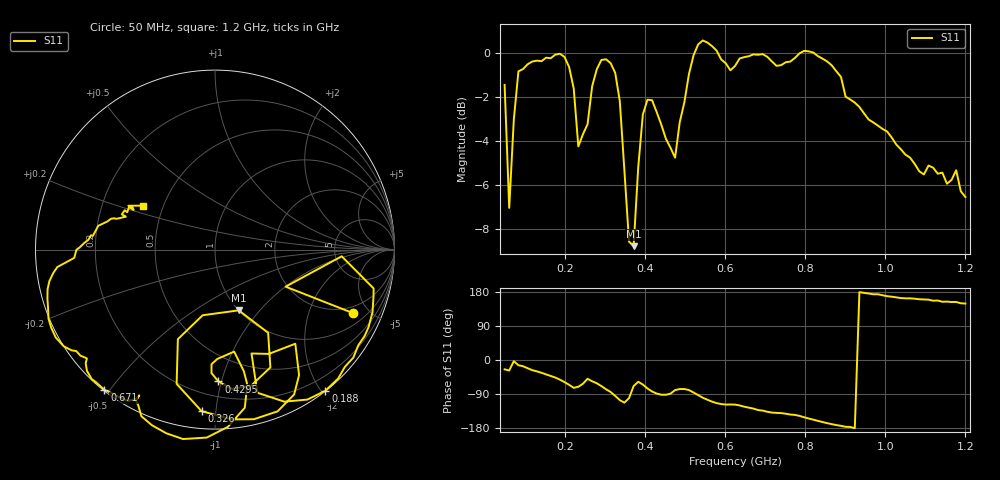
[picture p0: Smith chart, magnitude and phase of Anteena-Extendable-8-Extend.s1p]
# HZ S RI R 50
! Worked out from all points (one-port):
!   101 points, 50 MHz to 1.2 GHz, reference 50 ohm
!   lowest |S11| = -8.8 dB at 372 MHz (marker M1), VSWR 2.14, Z = 50 - j39 ohm
!   |S11| at or under -10 dB: nowhere
!   S11 on the Smith chart (normalised r, x): 50 MHz: 1.58, -3.97; 188 MHz: 0.00, -2.05; 326 MHz: 0.09, -0.92; 429.5 MHz: 0.31, -0.98; 671 MHz: 0.00, -0.48; 1.2 GHz: 0.38, +0.24
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5e7  0.77 -0.3543
6.15e7  0.3934 -0.2064
7.3e7  0.7059 -0.0372
8.45e7  0.8838 -0.2163
1.075e8  0.8776 -0.3493
1.88e8  0.6154 -0.7862
1.995e8  0.5151 -0.8354
2.225e8  0.2361 -0.7974
2.34e8  0.2034 -0.5788
2.57e8  0.4474 -0.5244
2.915e8  0.349 -0.9009
3.26e8  -0.0746 -0.9003
3.375e8  -0.2138 -0.7479
3.49e8  -0.2069 -0.499
3.72e8  0.1321 -0.3385
3.95e8  0.3086 -0.6563
4.295e8  0.0192 -0.7347
4.755e8  0.1068 -0.5684
4.87e8  0.1606 -0.6775
5.33e8  -0.046 -1.047
5.79e8  -0.4102 -0.9284
6.25e8  -0.4341 -0.8292
6.71e8  -0.616 -0.7813
7.745e8  -0.799 -0.5613
8.55e8  -0.9328 -0.221
9.125e8  -0.7837 -0.0449
1.062e9  -0.5522 0.1717
1.2e9  -0.403 0.2427
